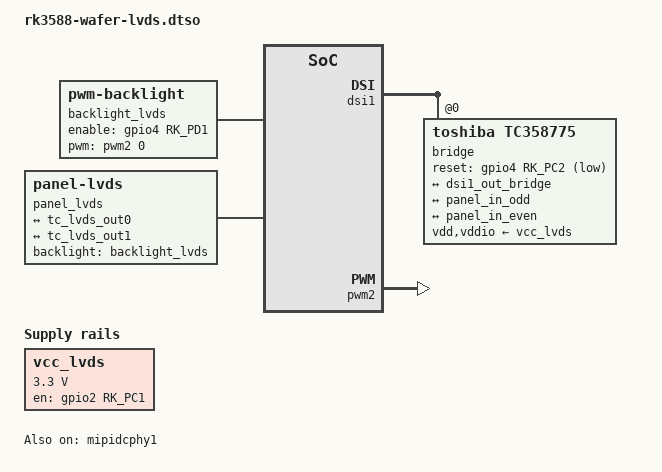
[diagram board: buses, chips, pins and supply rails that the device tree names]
// SPDX-License-Identifier: (GPL-2.0+ OR MIT)
/*
 * Device tree overlay for a COG-TA10MBZH-01 panel (10.1", 1920x1200)
 * attached to the LVDS connector of the IEI WAFER-RK3588, driven by DSI1
 * through the Samsung DCPHY1 transmitter and a TC358775 bridge.
 *
 * Copyright (c) 2026 IEI Integration Corp.
 */

/dts-v1/;
/plugin/;

#include <dt-bindings/gpio/gpio.h>
#include <dt-bindings/pinctrl/rockchip.h>
#include <dt-bindings/clock/rockchip,rk3588-cru.h>
#include <dt-bindings/soc/rockchip,vop2.h>

&{/} {
	vcc_lvds: regulator-vcc-lvds {
		compatible = "regulator-fixed";
		regulator-name = "vcc_lvds";
		regulator-min-microvolt = <3300000>;
		regulator-max-microvolt = <3300000>;
		gpio = <&gpio2 RK_PC1 GPIO_ACTIVE_HIGH>;
		enable-active-high;
		/*
		 * LVDS_EN gates the whole LVDS power domain - the 3.3V load
		 * switch that feeds the panel and, through an LDO, the
		 * bridge's 1.8V IO - and releases the bridge's STBY at the
		 * same time.  Letting the bridge driver switch it leaves the
		 * panel dark, so hold it from boot.
		 */
		regulator-boot-on;
		regulator-always-on;
		startup-delay-us = <20000>;
		pinctrl-names = "default";
		pinctrl-0 = <&lvds_lcd_en>;
	};

	backlight_lvds: backlight-lvds {
		compatible = "pwm-backlight";
		pwms = <&pwm2 0 25000 0>;
		enable-gpios = <&gpio4 RK_PD1 GPIO_ACTIVE_HIGH>;
		brightness-levels = <0 255>;
		num-interpolated-steps = <255>;
		default-brightness-level = <200>;
		pinctrl-names = "default";
		pinctrl-0 = <&lvds_bkl_en>;
	};

	panel_lvds: panel-lvds {
		compatible = "panel-lvds";
		width-mm = <217>;
		height-mm = <136>;
		data-mapping = "vesa-24";
		backlight = <&backlight_lvds>;

		panel-timing {
			clock-frequency = <168000000>;
			hactive = <1920>;
			vactive = <1200>;
			hfront-porch = <72>;
			hsync-len = <50>;
			hback-porch = <180>;
			vfront-porch = <24>;
			vsync-len = <12>;
			vback-porch = <24>;
		};

		ports {
			#address-cells = <1>;
			#size-cells = <0>;

			port@0 {
				reg = <0>;
				dual-lvds-odd-pixels;
				panel_in_odd: endpoint {
					remote-endpoint = <&tc_lvds_out0>;
				};
			};

			port@1 {
				reg = <1>;
				dual-lvds-even-pixels;
				panel_in_even: endpoint {
					remote-endpoint = <&tc_lvds_out1>;
				};
			};
		};
	};
};

/*
 * dclk_vop2_src carries CLK_SET_RATE_PARENT and its boot-time parent is
 * GPLL: a vp2 modeset would retune GPLL system-wide, and cclk_emmc is a
 * GPLL child, so the eMMC gets corrupted mid-transfer.  Parent it to the
 * display-dedicated V0PLL instead.
 */
&vop {
	assigned-clocks = <&cru DCLK_VOP2_SRC>;
	assigned-clock-parents = <&cru PLL_V0PLL>;
};

&dsi1 {
	#address-cells = <1>;
	#size-cells = <0>;
	status = "okay";

	bridge@0 {
		compatible = "toshiba,tc358775";
		reg = <0>;
		vdd-supply = <&vcc_lvds>;
		vddio-supply = <&vcc_lvds>;
		reset-gpios = <&gpio4 RK_PC2 GPIO_ACTIVE_LOW>;
		pinctrl-names = "default";
		pinctrl-0 = <&lvds_lcd_rst>;

		ports {
			#address-cells = <1>;
			#size-cells = <0>;

			port@0 {
				reg = <0>;
				tc_dsi_in: endpoint {
					data-lanes = <1 2 3 4>;
					remote-endpoint = <&dsi1_out_bridge>;
				};
			};

			port@1 {
				reg = <1>;
				tc_lvds_out0: endpoint {
					remote-endpoint = <&panel_in_odd>;
				};
			};

			port@2 {
				reg = <2>;
				tc_lvds_out1: endpoint {
					remote-endpoint = <&panel_in_even>;
				};
			};
		};
	};
};

&dsi1_out {
	dsi1_out_bridge: endpoint {
		remote-endpoint = <&tc_dsi_in>;
	};
};

&mipidcphy1 {
	status = "okay";
};

&dsi1_in {
	dsi1_in_vp2: endpoint {
		remote-endpoint = <&vp2_out_dsi1>;
	};
};

&vp2 {
	#address-cells = <1>;
	#size-cells = <0>;

	vp2_out_dsi1: endpoint@ROCKCHIP_VOP2_EP_MIPI1 {
		reg = <ROCKCHIP_VOP2_EP_MIPI1>;
		remote-endpoint = <&dsi1_in_vp2>;
	};
};

&pwm2 {
	status = "okay";
};

&pinctrl {
	lvds {
		lvds_lcd_rst: lvds-lcd-rst {
			rockchip,pins = <4 RK_PC2 RK_FUNC_GPIO &pcfg_pull_none>;
		};

		lvds_lcd_en: lvds-lcd-en {
			rockchip,pins = <2 RK_PC1 RK_FUNC_GPIO &pcfg_pull_down>;
		};

		lvds_bkl_en: lvds-bkl-en {
			rockchip,pins = <4 RK_PD1 RK_FUNC_GPIO &pcfg_pull_none>;
		};
	};
};
